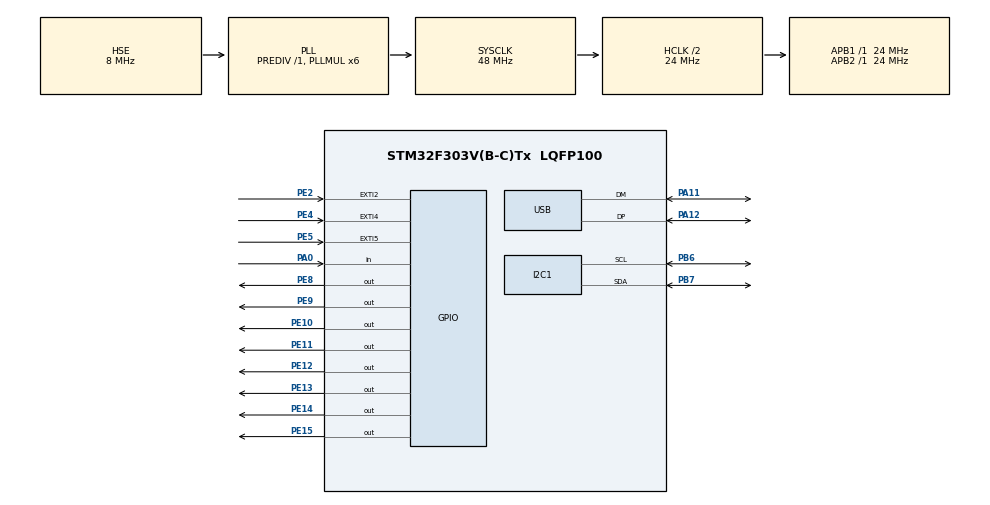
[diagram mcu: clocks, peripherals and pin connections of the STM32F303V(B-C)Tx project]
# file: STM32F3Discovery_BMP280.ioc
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Mcu.Family=STM32F3
Mcu.Name=STM32F303V(B-C)Tx
Mcu.Package=LQFP100
NVIC.PriorityGroup=NVIC_PRIORITYGROUP_4
NVIC.TIM3_IRQn=true\:0\:0\:false\:false\:true\:true
NVIC.USB_LP_CAN_RX0_IRQn=true\:0\:0\:false\:false\:true\:true
PA0.Signal=GPIO_Input
PA11.Mode=Device
PA11.Signal=USB_DM
PA12.Mode=Device
PA12.Signal=USB_DP
PA13.Mode=Serial_Wire
PA13.Signal=SYS_JTMS-SWDIO
PA14.Mode=Serial_Wire
PA14.Signal=SYS_JTCK-SWCLK
PB6.Mode=I2C
PB6.Signal=I2C1_SCL
PB7.Mode=I2C
PB7.Signal=I2C1_SDA
PE10.Signal=GPIO_Output
PE11.Signal=GPIO_Output
PE12.Signal=GPIO_Output
PE13.Signal=GPIO_Output
PE14.Signal=GPIO_Output
PE15.Signal=GPIO_Output
PE2.Signal=GPXTI2
PE4.Signal=GPXTI4
PE5.Signal=GPXTI5
PE8.Signal=GPIO_Output
PE9.Signal=GPIO_Output
PF0-OSC_IN.Mode=HSE-External-Oscillator
PF0-OSC_IN.Signal=RCC_OSC_IN
PF1-OSC_OUT.Mode=HSE-External-Oscillator
PF1-OSC_OUT.Signal=RCC_OSC_OUT
ProjectManager.HeapSize=0x200
ProjectManager.StackSize=0x400
ProjectManager.TargetToolchain=TrueSTUDIO
RCC.AHBCLKDivider=RCC_SYSCLK_DIV2
RCC.AHBFreq_Value=24000000
RCC.APB1Freq_Value=24000000
RCC.APB1TimFreq_Value=24000000
RCC.APB2Freq_Value=24000000
RCC.APB2TimFreq_Value=24000000
RCC.CortexFreq_Value=24000000
RCC.HCLKFreq_Value=24000000
RCC.HSE_VALUE=8000000
RCC.HSI_VALUE=8000000
RCC.LSE_VALUE=32768
RCC.PLLMUL=RCC_PLL_MUL6
RCC.SYSCLKFreq_VALUE=48000000
RCC.SYSCLKSourceVirtual=RCC_SYSCLKSOURCE_PLLCLK
RCC.USBFreq_Value=48000000
TIM3.Period=19
TIM3.Prescaler=24000
USB_DEVICE.CLASS_NAME_FS=CDC
USB_DEVICE.PRODUCT_STRING_CDC_FS=STM32 BMP280
USB_DEVICE.VirtualMode=Cdc
USB_DEVICE.VirtualModeFS=Cdc_FS
VP_TIM3_VS_ClockSourceINT.Mode=Internal
VP_USB_DEVICE_VS_USB_DEVICE_CDC_FS.Mode=CDC_FS
board=STM32F3Discovery_BMP280

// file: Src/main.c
/**
  ******************************************************************************
  * File Name          : main.c
  * Description        : Main program body
  ******************************************************************************
  * This notice applies to any and all portions of this file
  * that are not between comment pairs USER CODE BEGIN and
  * USER CODE END. Other portions of this file, whether
  * inserted by the user or by software development tools
  * are owned by their respective copyright owners.
  *
  * Copyright (c) 2017 STMicroelectronics International N.V.
  * All rights reserved.
  *
  * Redistribution and use in source and binary forms, with or without
  * modification, are permitted, provided that the following conditions are met:
  *
  * 1. Redistribution of source code must retain the above copyright notice,
  *    this list of conditions and the following disclaimer.
  * 2. Redistributions in binary form must reproduce the above copyright notice,
  *    this list of conditions and the following disclaimer in the documentation
  *    and/or other materials provided with the distribution.
  * 3. Neither the name of STMicroelectronics nor the names of other
  *    contributors to this software may be used to endorse or promote products
  *    derived from this software without specific written permission.
  * 4. This software, including modifications and/or derivative works of this
  *    software, must execute solely and exclusively on microcontroller or
  *    microprocessor devices manufactured by or for STMicroelectronics.
  * 5. Redistribution and use of this software other than as permitted under
  *    this license is void and will automatically terminate your rights under
  *    this license.
  *
  * THIS SOFTWARE IS PROVIDED BY STMICROELECTRONICS AND CONTRIBUTORS "AS IS"
  * AND ANY EXPRESS, IMPLIED OR STATUTORY WARRANTIES, INCLUDING, BUT NOT
  * LIMITED TO, THE IMPLIED WARRANTIES OF MERCHANTABILITY, FITNESS FOR A
  * PARTICULAR PURPOSE AND NON-INFRINGEMENT OF THIRD PARTY INTELLECTUAL PROPERTY
  * RIGHTS ARE DISCLAIMED TO THE FULLEST EXTENT PERMITTED BY LAW. IN NO EVENT
  * SHALL STMICROELECTRONICS OR CONTRIBUTORS BE LIABLE FOR ANY DIRECT, INDIRECT,
  * INCIDENTAL, SPECIAL, EXEMPLARY, OR CONSEQUENTIAL DAMAGES (INCLUDING, BUT NOT
  * LIMITED TO, PROCUREMENT OF SUBSTITUTE GOODS OR SERVICES; LOSS OF USE, DATA,
  * OR PROFITS; OR BUSINESS INTERRUPTION) HOWEVER CAUSED AND ON ANY THEORY OF
  * LIABILITY, WHETHER IN CONTRACT, STRICT LIABILITY, OR TORT (INCLUDING
  * NEGLIGENCE OR OTHERWISE) ARISING IN ANY WAY OUT OF THE USE OF THIS SOFTWARE,
  * EVEN IF ADVISED OF THE POSSIBILITY OF SUCH DAMAGE.
  *
  ******************************************************************************
  */
#include "main.h"
#include "stm32f3xx_hal.h"
#include "usb_device.h"

/* USER CODE BEGIN Includes */
#include "BMP280.h"
#include <string.h>
#include <math.h>
/* USER CODE END Includes */

I2C_HandleTypeDef hi2c1;

TIM_HandleTypeDef htim3;

/* USER CODE BEGIN PV */
/* Private variables ---------------------------------------------------------*/
uint8_t volatile USB_allow=0;
extern uint8_t CDC_Transmit_FS1(uint8_t* Buf, uint16_t Len);
/* USER CODE END PV */

void SystemClock_Config(void);
static void MX_GPIO_Init(void);
static void MX_I2C1_Init(void);
static void MX_TIM3_Init(void);

/* USER CODE BEGIN PFP */
/* Private function prototypes -----------------------------------------------*/

/* USER CODE END PFP */

/* USER CODE BEGIN 0 */
uint8_t string_compare(char array1[], char array2[], uint16_t lenght)
{
	 uint8_t comVAR=0, i;
	 for(i=0;i<lenght;i++)
	   	{
	   		  if(array1[i]==array2[i])
	   	  		  comVAR++;
	   	  	  else comVAR=0;
	   	}
	 if (comVAR==lenght)
		 	return 1;
	 else 	return 0;
}

// reverses a string 'str' of length 'len'
void reverse(char *str, int len)
{
    int i=0, j=len-1, temp;
    while (i<j)
    {
        temp = str[i];
        str[i] = str[j];
        str[j] = temp;
        i++; j--;
    }
}

 // Converts a given integer x to string str[].  d is the number
 // of digits required in output. If d is more than the number
 // of digits in x, then 0s are added at the beginning.
int intToStr(int x, char str[], int d)
{
    int i = 0;
    while (x)
    {
        str[i++] = (x%10) + '0';
        x = x/10;
    }

    // If number of digits required is more, then
    // add 0s at the beginning
    while (i < d)
        str[i++] = '0';

    reverse(str, i);
    str[i] = '\0';
    return i;
}

// Converts a floating point number to string.
void ftoa(float n, char *res, int afterpoint)
{
	unsigned char minus_flag = 0;
	if(n<0)
	{
		minus_flag = 1;
		n = -n;
	}

    // Extract integer part
    int ipart = (int)n;

    // Extract floating part
    float fpart = n - (float)ipart;

    // convert integer part to string
    int i = intToStr(ipart, res, 0);

    // check for display option after point
    if (afterpoint != 0)
    {
        res[i] = '.';  // add dot

        // Get the value of fraction part upto given no.
        // of points after dot. The third parameter is needed
        // to handle cases like 233.007
        fpart = fpart * pow(10, afterpoint);

        intToStr((int)fpart, res + i + 1, afterpoint);
    }

    char string[30];
    if(minus_flag==1)
    {
        memset(string, 0, 30);
        string[0]='-';
        if(n<1.0f)
        {
        	string[1]='0';
        	strcpy(&string[2], res);
        }else
        	strcpy(&string[1], res);

        memset(res, 0, strlen(res));
        strcpy(res, string);
    }else
    if(n<1.0f)
	{
		string[0]='0';
		strcpy(&string[1], res);
		memset(res, 0, strlen(res));
		strcpy(res, string);
	}

}
/* USER CODE END 0 */

int main(void)
{

  /* MCU Configuration----------------------------------------------------------*/

  /* Reset of all peripherals, Initializes the Flash interface and the Systick. */
  HAL_Init();

  /* Configure the system clock */
  SystemClock_Config();

  /* Initialize all configured peripherals */
  MX_GPIO_Init();
  MX_I2C1_Init();
  MX_USB_DEVICE_Init();
  MX_TIM3_Init();

  /* USER CODE BEGIN 2 */
  char string[200];
  HAL_Delay(2000);
  USB_allow=1;
  BMP280_init();
  BMP280_calc_values();
  init_height=altitude;
  /* USER CODE END 2 */

  /* Infinite loop */
  while (1)
  {

  /* USER CODE BEGIN 3 */
	  BMP280_calc_values();
	  if(HAL_GPIO_ReadPin(GPIOA, GPIO_PIN_0))
		  init_height=altitude;

	  memset(&string, 0, strlen(string));

	  strcat(string, "Temperature: ");
	  ftoa(temperature, &string[strlen(string)], 3);
	  strcat(string, " C\n");

	  strcat(string, "Pressure: ");
	  ftoa(pressure, &string[strlen(string)], 3);
	  strcat(string, " Pa\n");

	  strcat(string, "Altitude: ");
	  ftoa(altitude, &string[strlen(string)], 3);
	  strcat(string, " m\n");

	  strcat(string, "Relative altitude: ");
	  ftoa(altitude-init_height, &string[strlen(string)], 3);
	  strcat(string, " m\n\n\n");

	  CDC_Transmit_FS1((uint8_t*)&string, strlen(string));
	  HAL_Delay(1000);
  }
  /* USER CODE END 3 */

}

/** System Clock Configuration
*/
void SystemClock_Config(void)
{

  RCC_OscInitTypeDef RCC_OscInitStruct;
  RCC_ClkInitTypeDef RCC_ClkInitStruct;
  RCC_PeriphCLKInitTypeDef PeriphClkInit;

    /**Initializes the CPU, AHB and APB busses clocks
    */
  RCC_OscInitStruct.OscillatorType = RCC_OSCILLATORTYPE_HSI|RCC_OSCILLATORTYPE_HSE;
  RCC_OscInitStruct.HSEState = RCC_HSE_ON;
  RCC_OscInitStruct.HSEPredivValue = RCC_HSE_PREDIV_DIV1;
  RCC_OscInitStruct.HSIState = RCC_HSI_ON;
  RCC_OscInitStruct.HSICalibrationValue = 16;
  RCC_OscInitStruct.PLL.PLLState = RCC_PLL_ON;
  RCC_OscInitStruct.PLL.PLLSource = RCC_PLLSOURCE_HSE;
  RCC_OscInitStruct.PLL.PLLMUL = RCC_PLL_MUL6;
  if (HAL_RCC_OscConfig(&RCC_OscInitStruct) != HAL_OK)
  {
    _Error_Handler(__FILE__, __LINE__);
  }

    /**Initializes the CPU, AHB and APB busses clocks
    */
  RCC_ClkInitStruct.ClockType = RCC_CLOCKTYPE_HCLK|RCC_CLOCKTYPE_SYSCLK
                              |RCC_CLOCKTYPE_PCLK1|RCC_CLOCKTYPE_PCLK2;
  RCC_ClkInitStruct.SYSCLKSource = RCC_SYSCLKSOURCE_PLLCLK;
  RCC_ClkInitStruct.AHBCLKDivider = RCC_SYSCLK_DIV2;
  RCC_ClkInitStruct.APB1CLKDivider = RCC_HCLK_DIV1;
  RCC_ClkInitStruct.APB2CLKDivider = RCC_HCLK_DIV1;

  if (HAL_RCC_ClockConfig(&RCC_ClkInitStruct, FLASH_LATENCY_0) != HAL_OK)
  {
    _Error_Handler(__FILE__, __LINE__);
  }

  PeriphClkInit.PeriphClockSelection = RCC_PERIPHCLK_USB|RCC_PERIPHCLK_I2C1;
  PeriphClkInit.I2c1ClockSelection = RCC_I2C1CLKSOURCE_HSI;
  PeriphClkInit.USBClockSelection = RCC_USBCLKSOURCE_PLL;
  if (HAL_RCCEx_PeriphCLKConfig(&PeriphClkInit) != HAL_OK)
  {
    _Error_Handler(__FILE__, __LINE__);
  }

    /**Configure the Systick interrupt time
    */
  HAL_SYSTICK_Config(HAL_RCC_GetHCLKFreq()/1000);

    /**Configure the Systick
    */
  HAL_SYSTICK_CLKSourceConfig(SYSTICK_CLKSOURCE_HCLK);

  /* SysTick_IRQn interrupt configuration */
  HAL_NVIC_SetPriority(SysTick_IRQn, 0, 0);
}

/* I2C1 init function */
static void MX_I2C1_Init(void)
{

  hi2c1.Instance = I2C1;
  hi2c1.Init.Timing = 0x2000090E;
  hi2c1.Init.OwnAddress1 = 0;
  hi2c1.Init.AddressingMode = I2C_ADDRESSINGMODE_7BIT;
  hi2c1.Init.DualAddressMode = I2C_DUALADDRESS_DISABLE;
  hi2c1.Init.OwnAddress2 = 0;
  hi2c1.Init.OwnAddress2Masks = I2C_OA2_NOMASK;
  hi2c1.Init.GeneralCallMode = I2C_GENERALCALL_DISABLE;
  hi2c1.Init.NoStretchMode = I2C_NOSTRETCH_DISABLE;
  if (HAL_I2C_Init(&hi2c1) != HAL_OK)
  {
    _Error_Handler(__FILE__, __LINE__);
  }

    /**Configure Analogue filter
    */
  if (HAL_I2CEx_ConfigAnalogFilter(&hi2c1, I2C_ANALOGFILTER_ENABLE) != HAL_OK)
  {
    _Error_Handler(__FILE__, __LINE__);
  }

    /**Configure Digital filter
    */
  if (HAL_I2CEx_ConfigDigitalFilter(&hi2c1, 0) != HAL_OK)
  {
    _Error_Handler(__FILE__, __LINE__);
  }

}

/* TIM3 init function */
static void MX_TIM3_Init(void)
{

  TIM_ClockConfigTypeDef sClockSourceConfig;
  TIM_MasterConfigTypeDef sMasterConfig;

  htim3.Instance = TIM3;
  htim3.Init.Prescaler = 24000;
  htim3.Init.CounterMode = TIM_COUNTERMODE_UP;
  htim3.Init.Period = 19;
  htim3.Init.ClockDivision = TIM_CLOCKDIVISION_DIV1;
  htim3.Init.AutoReloadPreload = TIM_AUTORELOAD_PRELOAD_DISABLE;
  if (HAL_TIM_Base_Init(&htim3) != HAL_OK)
  {
    _Error_Handler(__FILE__, __LINE__);
  }

  sClockSourceConfig.ClockSource = TIM_CLOCKSOURCE_INTERNAL;
  if (HAL_TIM_ConfigClockSource(&htim3, &sClockSourceConfig) != HAL_OK)
  {
    _Error_Handler(__FILE__, __LINE__);
  }

  sMasterConfig.MasterOutputTrigger = TIM_TRGO_RESET;
  sMasterConfig.MasterSlaveMode = TIM_MASTERSLAVEMODE_DISABLE;
  if (HAL_TIMEx_MasterConfigSynchronization(&htim3, &sMasterConfig) != HAL_OK)
  {
    _Error_Handler(__FILE__, __LINE__);
  }

}

/** Configure pins as
        * Analog
        * Input
        * Output
        * EVENT_OUT
        * EXTI
*/
static void MX_GPIO_Init(void)
{

  GPIO_InitTypeDef GPIO_InitStruct;

  /* GPIO Ports Clock Enable */
  __HAL_RCC_GPIOE_CLK_ENABLE();
  __HAL_RCC_GPIOF_CLK_ENABLE();
  __HAL_RCC_GPIOA_CLK_ENABLE();
  __HAL_RCC_GPIOB_CLK_ENABLE();

  /*Configure GPIO pin Output Level */
  HAL_GPIO_WritePin(GPIOE, GPIO_PIN_8|GPIO_PIN_9|GPIO_PIN_10|GPIO_PIN_11
                          |GPIO_PIN_12|GPIO_PIN_13|GPIO_PIN_14|GPIO_PIN_15, GPIO_PIN_RESET);

  /*Configure GPIO pins : PE2 PE4 PE5 */
  GPIO_InitStruct.Pin = GPIO_PIN_2|GPIO_PIN_4|GPIO_PIN_5;
  GPIO_InitStruct.Mode = GPIO_MODE_IT_RISING;
  GPIO_InitStruct.Pull = GPIO_NOPULL;
  HAL_GPIO_Init(GPIOE, &GPIO_InitStruct);

  /*Configure GPIO pin : PA0 */
  GPIO_InitStruct.Pin = GPIO_PIN_0;
  GPIO_InitStruct.Mode = GPIO_MODE_INPUT;
  GPIO_InitStruct.Pull = GPIO_NOPULL;
  HAL_GPIO_Init(GPIOA, &GPIO_InitStruct);

  /*Configure GPIO pins : PE8 PE9 PE10 PE11
                           PE12 PE13 PE14 PE15 */
  GPIO_InitStruct.Pin = GPIO_PIN_8|GPIO_PIN_9|GPIO_PIN_10|GPIO_PIN_11
                          |GPIO_PIN_12|GPIO_PIN_13|GPIO_PIN_14|GPIO_PIN_15;
  GPIO_InitStruct.Mode = GPIO_MODE_OUTPUT_PP;
  GPIO_InitStruct.Pull = GPIO_NOPULL;
  GPIO_InitStruct.Speed = GPIO_SPEED_FREQ_LOW;
  HAL_GPIO_Init(GPIOE, &GPIO_InitStruct);

}

void _Error_Handler(char * file, int line)
{
  while(1)
  {
  }
}

/************************ (C) COPYRIGHT STMicroelectronics *****END OF FILE****/
